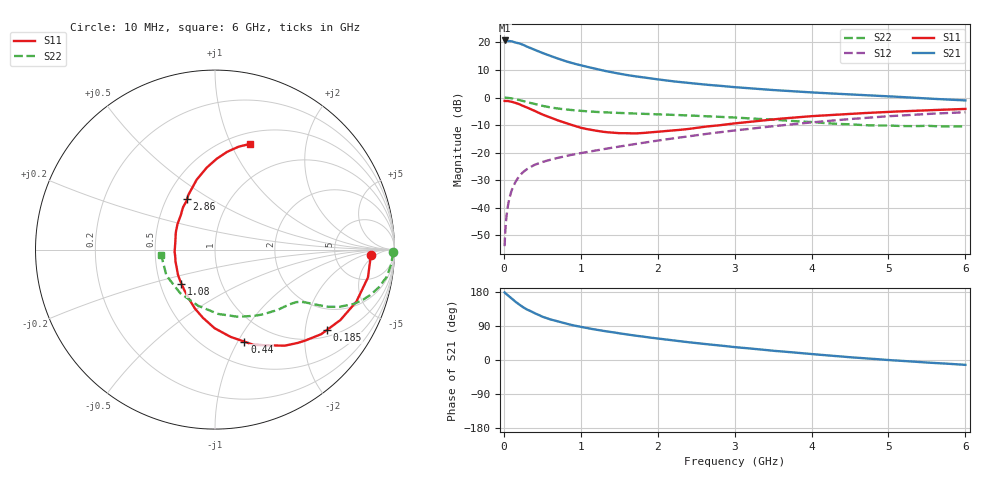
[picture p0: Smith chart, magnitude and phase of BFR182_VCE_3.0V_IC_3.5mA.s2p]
! Infineon Technologies  Discrete & RF Semiconductors
! BFR182
! VCE =  3.0 V,  IC =  3.5 mA
! Common Emitter S-Parameters:  Nov 2015
# GHz  S  MA  R  50
!  f  S11  S21  S12  S22
! GHz  MAG  ANG  MAG  ANG  MAG  ANG  MAG  ANG
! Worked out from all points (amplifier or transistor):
!   210 points, 10 MHz to 6 GHz, reference 50 ohm
!   highest |S21| = 20.7 dB at 10 MHz (marker M1)
!   |S21| within 3 dB of that: start of sweep to 367 MHz
!   unconditionally stable (mu >= 1): 1.228 GHz to 2.939 GHz
!   at 185 MHz: K = 0.26, MSG = 24.5 dB, |S12| = -29.2 dB
!   at 1.52 GHz: K = 1.06, MAG = 11.7 dB, |S12| = -17.7 dB
!   at 6 GHz: K = 0.89, MSG = 2.2 dB, |S12| = -5.4 dB
!   S11 on the Smith chart (normalised r, x): 10 MHz: 13, -3; 185 MHz: 1.20, -2.62; 440 MHz: 0.74, -1.07; 1.08 GHz: 0.64, -0.26; 2.86 GHz: 0.63, +0.40; 6 GHz: 0.62, +1.18
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0.01  0.8671 -2.1  10.86 178.3  0.002 90.8  0.9932 -0.9
0.02  0.8668 -4.0  10.62 176.2  0.004 86.1  0.9898 -1.9
0.04  0.8652 -8.2  10.64 172.8  0.0081 84.8  0.987 -3.7
0.1  0.8394 -20.2  10.54 162.6  0.0203 79.9  0.9682 -9.1
0.15  0.801 -29.4  9.967 153.9  0.0291 74.5  0.9365 -13.0
0.185  0.7678 -35.7  9.7 148.7  0.0347 71.5  0.9115 -15.3
0.26  0.695 -48.4  8.942 138.1  0.0454 65.5  0.8555 -19.7
0.3  0.6617 -54.0  8.401 133.3  0.0499 64.1  0.8258 -21.6
0.44  0.5384 -72.3  6.986 120.2  0.0629 58.7  0.7406 -25.5
0.52  0.4809 -81.9  6.306 113.0  0.0687 57.1  0.6978 -27.0
0.6  0.4375 -90.4  5.73 107.4  0.0739 56.2  0.6622 -28.0
0.7  0.3856 -100.1  5.106 101.6  0.0801 55.6  0.6308 -28.9
0.88  0.3185 -115.5  4.247 92.5  0.091 55.5  0.5929 -30.0
1.02  0.2784 -129.1  3.784 86.6  0.099 56.3  0.5698 -30.8
1.08  0.2671 -134.5  3.615 84.4  0.1023 56.6  0.5617 -31.3
1.6  0.2254 -176.9  2.557 67.4  0.1355 58.7  0.5188 -35.8
2.02  0.2404 154.4  2.118 56.1  0.1668 59.0  0.4948 -40.9
2.86  0.3204 119.1  1.607 37.2  0.2393 56.3  0.443 -55.0
3.1  0.3504 113.4  1.504 32.3  0.2616 54.5  0.4247 -60.3
4.1  0.4673 94.4  1.216 14.0  0.3636 45.5  0.3493 -90.7
5.1  0.5562 81.7  1.033 -1.3  0.4663 33.3  0.306 -133.1
6  0.6205 71.7  0.886 -12.8  0.5399 19.9  0.3016 -174.4
